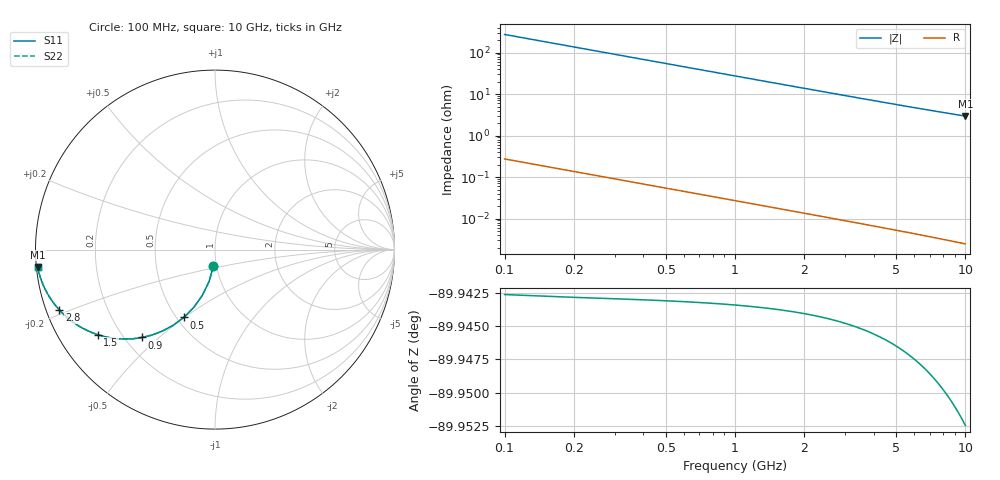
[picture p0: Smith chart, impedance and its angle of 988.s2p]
# Hz S RI R 50.00
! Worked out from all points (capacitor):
!   100 points, 100 MHz to 10 GHz, reference 50 ohm
!   read as one part in shunt: C = 5.84 pF near 100 MHz
!   lowest |Z| = 2.94 ohm at 10 GHz (marker M1)
!   S11 on the Smith chart (normalised r, x): 100 MHz: 0.97, -0.18; 500 MHz: 0.54, -0.50; 900 MHz: 0.27, -0.44; 1.5 GHz: 0.12, -0.32; 2.8 GHz: 0.04, -0.19; 10 GHz: 0.00, -0.05
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1e8  -0.00843 -0.0909  0.9915 -0.0911  0.9915 -0.0911  -0.00843 -0.0909
2e8  -0.0328 -0.1774  0.9672 -0.1777  0.9672 -0.1777  -0.0328 -0.1774
3e8  -0.0707 -0.2556  0.9293 -0.2561  0.9293 -0.2561  -0.0707 -0.2556
4e8  -0.119 -0.3229  0.881 -0.3237  0.881 -0.3237  -0.119 -0.3229
5e8  -0.1741 -0.3783  0.8259 -0.3792  0.8259 -0.3792  -0.1741 -0.3783
6e8  -0.2327 -0.4215  0.7672 -0.4226  0.7672 -0.4226  -0.2327 -0.4215
7e8  -0.2921 -0.4536  0.7079 -0.4548  0.7079 -0.4548  -0.2921 -0.4536
8e8  -0.35 -0.4758  0.65 -0.4772  0.65 -0.4772  -0.35 -0.4758
9e8  -0.4051 -0.4896  0.5949 -0.4912  0.5949 -0.4912  -0.4051 -0.4896
1e9  -0.4566 -0.4967  0.5434 -0.4985  0.5434 -0.4985  -0.4566 -0.4967
1.2e9  -0.5472 -0.4962  0.4528 -0.4984  0.4528 -0.4984  -0.5472 -0.4962
1.5e9  -0.6533 -0.4741  0.3467 -0.4768  0.3467 -0.4768  -0.6533 -0.4741
1.8e9  -0.7304 -0.4416  0.2696 -0.4449  0.2696 -0.4449  -0.7304 -0.4416
2e9  -0.7696 -0.4187  0.2304 -0.4224  0.2304 -0.4224  -0.7696 -0.4187
2.3e9  -0.8152 -0.3855  0.1848 -0.3897  0.1848 -0.3897  -0.8152 -0.3855
2.8e9  -0.8671 -0.3364  0.1329 -0.3415  0.1329 -0.3415  -0.8671 -0.3364
3.4e9  -0.9057 -0.2886  0.0943 -0.2949  0.0943 -0.2949  -0.9057 -0.2886
4.2e9  -0.936 -0.2403  0.0639 -0.2481  0.0639 -0.2481  -0.936 -0.2403
5.1e9  -0.9557 -0.2005  0.0442 -0.21  0.0442 -0.21  -0.9557 -0.2005
6.7e9  -0.9739 -0.1524  0.026 -0.1651  0.026 -0.1651  -0.9739 -0.1524
8.4e9  -0.9833 -0.1191  0.0165 -0.1352  0.0165 -0.1352  -0.9833 -0.1191
1e10  -0.9883 -0.0969  0.0115 -0.1163  0.0115 -0.1163  -0.9883 -0.0969
